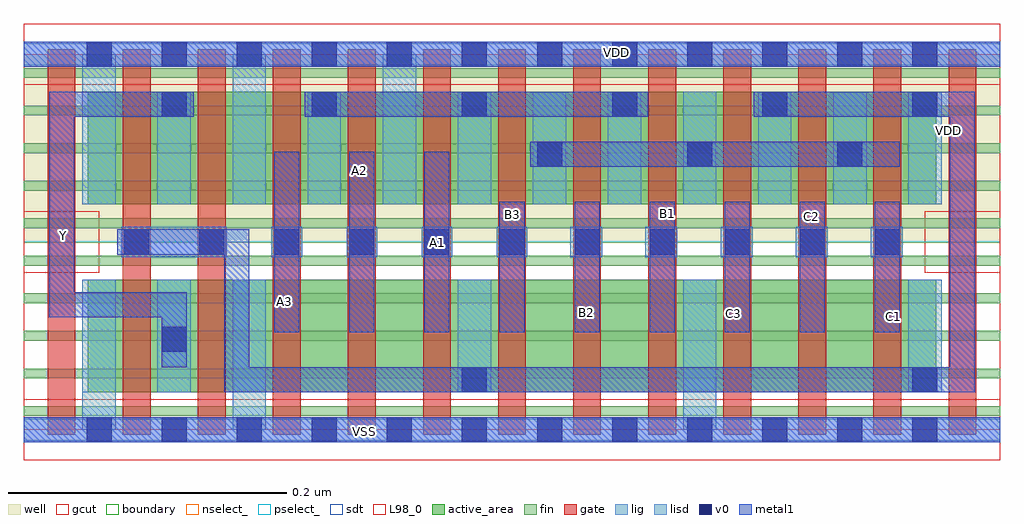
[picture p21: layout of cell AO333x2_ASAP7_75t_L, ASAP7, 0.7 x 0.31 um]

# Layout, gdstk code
import gdstk
lib = gdstk.Library(unit=1e-6, precision=2.5e-10)
def R(c, l, rs):  # rectangles x0, y0, x1, y1
    for r in rs: c.add(gdstk.rectangle(r[:2], r[2:], *l))
def A(c, l, x, y, w, h, nx, ny, dx, dy):  # array of equal rectangles
    R(c, l, [(x+i*dx, y+j*dy, x+i*dx+w, y+j*dy+h) for i in range(nx) for j in range(ny)])
def P(c, l, *ps):  # polygons
    for p in ps: c.add(gdstk.Polygon(p, *l))
well = (1, 0)
fin = (2, 0)
gate = (7, 0)
gcut = (10, 0)
active_area = (11, 0)
nselect_ = (12, 0)
pselect_ = (13, 0)
lig = (16, 0)
lisd = (17, 0)
v0 = (18, 0)
metal1 = (19, 0)
sdt = (88, 0)
L98_0 = (98, 0)
boundary = (100, 0)

ao333x2_asap7_75t_l = lib.new_cell('AO333x2_ASAP7_75t_L')
R(ao333x2_asap7_75t_l, well, [(0,0.135,0.702,0.27)])
A(ao333x2_asap7_75t_l, fin, 0, 0.01, 0.702, 0.007, 1, 10, 0, 0.027)
A(ao333x2_asap7_75t_l, gate, 0.017, -0.0035, 0.02, 0.277, 13, 1, 0.054, 0)
R(ao333x2_asap7_75t_l, gcut, [(0,-0.022,0.702,0.022), (0,0.113,0.054,0.157), (0.648,0.113,0.702,0.157), (0,0.248,0.702,0.292)])
R(ao333x2_asap7_75t_l, active_area, [(0.046,0.027,0.656,0.108), (0.046,0.162,0.656,0.243)])
R(ao333x2_asap7_75t_l, nselect_, [(0,0,0.702,0.135)])
R(ao333x2_asap7_75t_l, pselect_, [(0,0.135,0.702,0.27)])
A(ao333x2_asap7_75t_l, lig, 0.178, 0.124, 0.022, 0.022, 4, 1, 0.054, 0)
A(ao333x2_asap7_75t_l, lig, 0.393, 0.124, 0.023, 0.022, 5, 1, 0.054, 0)
R(ao333x2_asap7_75t_l, lig, [(0,-0.008,0.702,0.008), (0.07,0.124,0.146,0.146), (0,0.262,0.702,0.278)])
A(ao333x2_asap7_75t_l, lisd, 0.042, 0.162, 0.024, 0.108, 3, 1, 0.108, 0)
A(ao333x2_asap7_75t_l, lisd, 0.096, 0.162, 0.024, 0.081, 3, 1, 0.108, 0)
A(ao333x2_asap7_75t_l, lisd, 0.366, 0.162, 0.024, 0.081, 6, 1, 0.054, 0)
R(ao333x2_asap7_75t_l, lisd, [(0.042,0,0.066,0.108), (0.15,0,0.174,0.108), (0.474,0,0.498,0.108), (0.096,0.027,0.12,0.108), (0.312,0.027,0.336,0.108), (0.636,0.027,0.66,0.108)])
A(ao333x2_asap7_75t_l, v0, 0.045, -0.009, 0.018, 0.018, 12, 2, 0.054, 0.27)
A(ao333x2_asap7_75t_l, v0, 0.072, 0.126, 0.018, 0.018, 11, 1, 0.054, 0)
A(ao333x2_asap7_75t_l, v0, 0.369, 0.189, 0.018, 0.018, 3, 1, 0.108, 0)
A(ao333x2_asap7_75t_l, v0, 0.099, 0.225, 0.018, 0.018, 6, 1, 0.108, 0)
R(ao333x2_asap7_75t_l, v0, [(0.315,0.027,0.333,0.045), (0.639,0.027,0.657,0.045), (0.099,0.056,0.117,0.074)])
A(ao333x2_asap7_75t_l, metal1, 0.18, 0.07, 0.018, 0.13, 3, 1, 0.054, 0)
A(ao333x2_asap7_75t_l, metal1, 0.342, 0.07, 0.018, 0.094, 6, 1, 0.054, 0)
R(ao333x2_asap7_75t_l, metal1, [(0,-0.009,0.702,0.009), (0.364,0.189,0.63,0.207), (0.202,0.225,0.449,0.243), (0,0.261,0.702,0.279)])
P(ao333x2_asap7_75t_l, metal1, [(0.684,0.243),(0.525,0.243),(0.525,0.225),(0.666,0.225),(0.666,0.045),(0.162,0.045),(0.162,0.144),(0.067,0.144),(0.067,0.126),(0.144,0.126),(0.144,0.027),(0.684,0.027)],
  [(0.122,0.243),(0.018,0.243),(0.018,0.081),(0.099,0.081),(0.099,0.045),(0.117,0.045),(0.117,0.099),(0.036,0.099),(0.036,0.225),(0.122,0.225)])
A(ao333x2_asap7_75t_l, sdt, 0.042, 0.027, 0.024, 0.081, 3, 1, 0.054, 0)
A(ao333x2_asap7_75t_l, sdt, 0.312, 0.027, 0.024, 0.081, 3, 1, 0.162, 0)
A(ao333x2_asap7_75t_l, sdt, 0.042, 0.162, 0.024, 0.081, 12, 1, 0.054, 0)
R(ao333x2_asap7_75t_l, L98_0, [(0,0,0.702,0.27)])
R(ao333x2_asap7_75t_l, boundary, [(0,0,0.702,0.27)])
ao333x2_asap7_75t_l.add(gdstk.Label('Y', (0.0285,0.1395), layer=19, texttype=251))
ao333x2_asap7_75t_l.add(gdstk.Label('C3', (0.5105,0.0835), layer=19, texttype=251))
ao333x2_asap7_75t_l.add(gdstk.Label('C2', (0.5665,0.1535), layer=19, texttype=251))
ao333x2_asap7_75t_l.add(gdstk.Label('C1', (0.6255,0.0815), layer=19, texttype=251))
ao333x2_asap7_75t_l.add(gdstk.Label('VDD', (0.426,0.271), layer=19, texttype=251))
ao333x2_asap7_75t_l.add(gdstk.Label('B3', (0.3515,0.1545), layer=19, texttype=251))
ao333x2_asap7_75t_l.add(gdstk.Label('VSS', (0.245,-0.001), layer=19, texttype=251))
ao333x2_asap7_75t_l.add(gdstk.Label('B2', (0.4045,0.0845), layer=19, texttype=251))
ao333x2_asap7_75t_l.add(gdstk.Label('B1', (0.4625,0.1555), layer=19, texttype=251))
ao333x2_asap7_75t_l.add(gdstk.Label('A3', (0.1875,0.0925), layer=19, texttype=251))
ao333x2_asap7_75t_l.add(gdstk.Label('A2', (0.2415,0.1865), layer=19, texttype=251))
ao333x2_asap7_75t_l.add(gdstk.Label('A1', (0.2975,0.1345), layer=19, texttype=251))
ao333x2_asap7_75t_l.add(gdstk.Label('VDD', (0.665,0.215), layer=1, texttype=251))
ao333x2_asap7_75t_l.add(gdstk.Label('VSS', (0.734,0.214), layer=3, texttype=251))

lib.write_gds('AO333x2_ASAP7_75t_L.gds')
